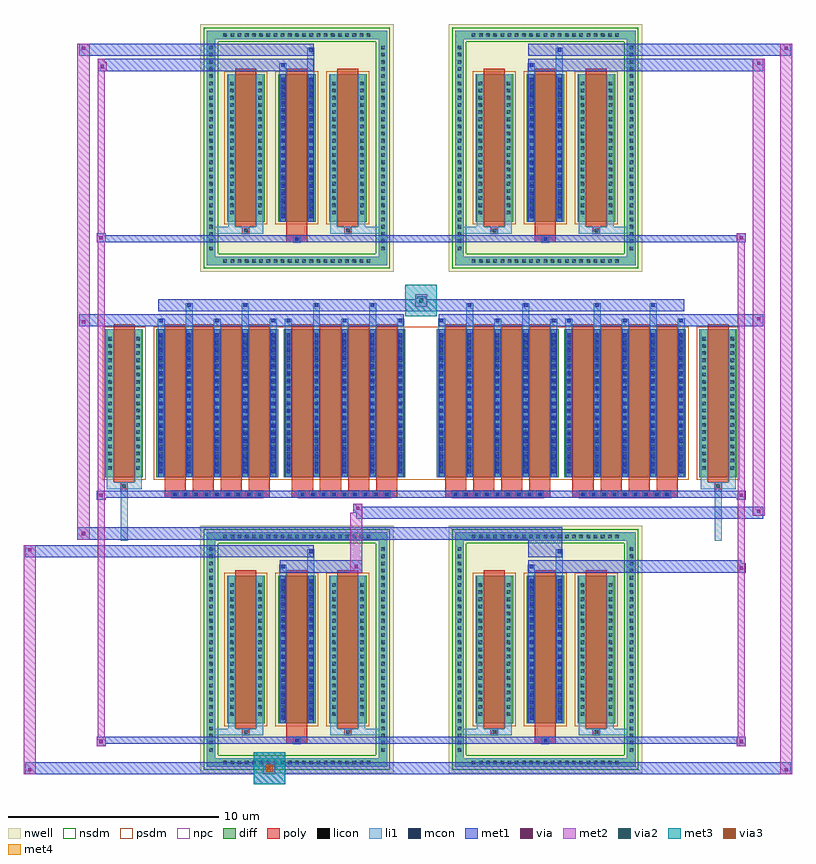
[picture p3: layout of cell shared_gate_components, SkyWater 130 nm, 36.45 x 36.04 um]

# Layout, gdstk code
import gdstk
lib = gdstk.Library(unit=1e-6, precision=5e-09)
def R(c, l, rs):  # rectangles x0, y0, x1, y1
    for r in rs: c.add(gdstk.rectangle(r[:2], r[2:], *l))
def A(c, l, x, y, w, h, nx, ny, dx, dy):  # array of equal rectangles
    R(c, l, [(x+i*dx, y+j*dy, x+i*dx+w, y+j*dy+h) for i in range(nx) for j in range(ny)])
def P(c, l, *ps):  # polygons
    for p in ps: c.add(gdstk.Polygon(p, *l))
nwell = (64, 20)
diff = (65, 20)
poly = (66, 20)
licon = (66, 44)
li1 = (67, 20)
mcon = (67, 44)
met1 = (68, 20)
via = (68, 44)
met2 = (69, 20)
via2 = (69, 44)
met3 = (70, 20)
via3 = (70, 44)
met4 = (71, 20)
nsdm = (93, 44)
psdm = (94, 20)
npc = (95, 20)

multiplier_8b764ce7 = lib.new_cell('multiplier_8b764ce7')
R(multiplier_8b764ce7, diff, [(-5.305,-3.5,-3.525,3.5), (-2.885,-3.5,2.885,3.5)])
A(multiplier_8b764ce7, poly, -2.165, -4.48, 0.33, 0.33, 9, 1, 0.5, 0)
A(multiplier_8b764ce7, poly, -2.495, -4.15, 1, 0.4, 4, 1, 1.33, 0)
A(multiplier_8b764ce7, poly, -2.495, -3.75, 1, 7.5, 4, 1, 1.33, 0)
R(multiplier_8b764ce7, poly, [(-2.495,-4.48,2.495,-4.15), (-4.58,-4.08,-4.25,-3.75), (-4.58,-4.08,-4.25,-3.75), (-4.915,-3.75,-3.915,3.75)])
A(multiplier_8b764ce7, licon, -2.085, -4.4, 0.17, 0.17, 9, 1, 0.5, 0)
A(multiplier_8b764ce7, licon, -5.165, -3.145, 0.17, 0.17, 1, 19, 0, 0.34)
A(multiplier_8b764ce7, licon, -3.835, -3.145, 0.17, 0.17, 1, 19, 0, 0.34)
A(multiplier_8b764ce7, licon, -2.745, -3.145, 0.17, 0.17, 5, 19, 1.33, 0.34)
R(multiplier_8b764ce7, licon, [(-4.5,-4,-4.33,-3.83)])
A(multiplier_8b764ce7, li1, -2.165, -4.48, 0.33, 0.33, 9, 1, 0.5, 0)
A(multiplier_8b764ce7, li1, -2.825, -3.5, 0.33, 7, 5, 1, 1.33, 0)
A(multiplier_8b764ce7, li1, -2.745, -3.325, 0.17, 0.17, 5, 19, 1.33, 0.36)
A(multiplier_8b764ce7, li1, -2.745, -3.325, 0.17, 6.65, 5, 1, 1.33, 0)
A(multiplier_8b764ce7, li1, -5.245, -3.225, 0.33, 0.33, 1, 19, 0, 0.34)
A(multiplier_8b764ce7, li1, -3.915, -3.225, 0.33, 0.33, 1, 19, 0, 0.34)
A(multiplier_8b764ce7, li1, -2.825, -3.225, 0.33, 0.33, 5, 19, 1.33, 0.34)
A(multiplier_8b764ce7, li1, -2.825, 3.5, 0.33, 0.52, 3, 1, 2.66, 0)
A(multiplier_8b764ce7, li1, -2.745, 3.85, 0.17, 0.17, 3, 1, 2.66, 0)
R(multiplier_8b764ce7, li1, [(-5.245,-4.08,-4.58,-3.75), (-5.245,-4.08,-4.915,-3.5), (-4.58,-4.08,-4.25,-3.75), (-4.25,-4.08,-3.585,-3.75), (-3.915,-4.08,-3.585,-3.5), (-5.245,-3.5,-4.915,3.5), (-3.915,-3.5,-3.585,3.5), (-1.495,3.5,-1.165,4.74), (1.165,3.5,1.495,4.74), (-1.415,4.57,-1.245,4.74), (1.245,4.57,1.415,4.74)])
A(multiplier_8b764ce7, mcon, -2.085, -4.4, 0.17, 0.17, 9, 1, 0.5, 0)
A(multiplier_8b764ce7, mcon, -2.745, -3.325, 0.17, 0.17, 5, 19, 1.33, 0.36)
A(multiplier_8b764ce7, mcon, -2.745, 3.85, 0.17, 0.17, 3, 1, 2.66, 0)
R(multiplier_8b764ce7, mcon, [(-1.415,4.57,-1.245,4.74), (1.245,4.57,1.415,4.74)])
A(multiplier_8b764ce7, met1, -2.145, -4.46, 0.29, 0.29, 9, 1, 0.5, 0)
A(multiplier_8b764ce7, met1, -2.805, -3.5, 0.29, 7, 5, 1, 1.33, 0)
A(multiplier_8b764ce7, met1, -2.805, -3.385, 0.29, 0.29, 5, 19, 1.33, 0.36)
A(multiplier_8b764ce7, met1, -2.805, 3.79, 0.29, 0.29, 3, 1, 2.66, 0)
R(multiplier_8b764ce7, met1, [(-2.495,-4.48,2.495,-4.15), (-2.805,3.645,2.805,4.225), (-2.805,4.365,2.805,4.945), (-1.475,4.51,-1.185,4.8), (1.185,4.51,1.475,4.8)])
R(multiplier_8b764ce7, psdm, [(-5.435,-3.63,-3.395,3.63), (-3.015,-3.63,3.015,3.63)])
A(multiplier_8b764ce7, npc, -2.185, -4.5, 0.37, 0.37, 9, 1, 0.5, 0)
R(multiplier_8b764ce7, npc, [(-2.185,-4.5,-1.315,-4.13), (-2.185,-4.5,-1.315,-4.13), (-1.685,-4.5,-0.815,-4.13), (-1.685,-4.5,-0.815,-4.13), (-1.185,-4.5,-0.315,-4.13), (-1.185,-4.5,-0.315,-4.13), (-0.685,-4.5,0.185,-4.13), (-0.685,-4.5,0.185,-4.13), (-0.185,-4.5,0.685,-4.13), (-0.185,-4.5,0.685,-4.13), (0.315,-4.5,1.185,-4.13), (0.315,-4.5,1.185,-4.13), (0.815,-4.5,1.685,-4.13), (0.815,-4.5,1.685,-4.13), (1.315,-4.5,2.185,-4.13), (1.315,-4.5,2.185,-4.13), (-4.6,-4.1,-4.23,-3.73)])

multiplier_1a55a8d5 = lib.new_cell('multiplier_1a55a8d5')
R(multiplier_1a55a8d5, diff, [(-2.885,-3.5,2.885,3.5)])
A(multiplier_1a55a8d5, poly, -2.165, -4.48, 0.33, 0.33, 9, 1, 0.5, 0)
A(multiplier_1a55a8d5, poly, -2.495, -4.15, 1, 0.4, 4, 1, 1.33, 0)
A(multiplier_1a55a8d5, poly, -2.495, -3.75, 1, 7.5, 4, 1, 1.33, 0)
R(multiplier_1a55a8d5, poly, [(-2.495,-4.48,2.495,-4.15)])
A(multiplier_1a55a8d5, licon, -2.085, -4.4, 0.17, 0.17, 9, 1, 0.5, 0)
A(multiplier_1a55a8d5, licon, -2.745, -3.145, 0.17, 0.17, 5, 19, 1.33, 0.34)
A(multiplier_1a55a8d5, li1, -2.165, -4.48, 0.33, 0.33, 9, 1, 0.5, 0)
A(multiplier_1a55a8d5, li1, -2.825, -3.5, 0.33, 7, 5, 1, 1.33, 0)
A(multiplier_1a55a8d5, li1, -2.745, -3.325, 0.17, 0.17, 5, 19, 1.33, 0.36)
A(multiplier_1a55a8d5, li1, -2.745, -3.325, 0.17, 6.65, 5, 1, 1.33, 0)
A(multiplier_1a55a8d5, li1, -2.825, -3.225, 0.33, 0.33, 5, 19, 1.33, 0.34)
A(multiplier_1a55a8d5, li1, -2.825, 3.5, 0.33, 0.52, 3, 1, 2.66, 0)
A(multiplier_1a55a8d5, li1, -2.745, 3.85, 0.17, 0.17, 3, 1, 2.66, 0)
R(multiplier_1a55a8d5, li1, [(-1.495,3.5,-1.165,4.74), (1.165,3.5,1.495,4.74), (-1.415,4.57,-1.245,4.74), (1.245,4.57,1.415,4.74)])
A(multiplier_1a55a8d5, mcon, -2.085, -4.4, 0.17, 0.17, 9, 1, 0.5, 0)
A(multiplier_1a55a8d5, mcon, -2.745, -3.325, 0.17, 0.17, 5, 19, 1.33, 0.36)
A(multiplier_1a55a8d5, mcon, -2.745, 3.85, 0.17, 0.17, 3, 1, 2.66, 0)
R(multiplier_1a55a8d5, mcon, [(-1.415,4.57,-1.245,4.74), (1.245,4.57,1.415,4.74)])
A(multiplier_1a55a8d5, met1, -2.145, -4.46, 0.29, 0.29, 9, 1, 0.5, 0)
A(multiplier_1a55a8d5, met1, -2.805, -3.5, 0.29, 7, 5, 1, 1.33, 0)
A(multiplier_1a55a8d5, met1, -2.805, -3.385, 0.29, 0.29, 5, 19, 1.33, 0.36)
A(multiplier_1a55a8d5, met1, -2.805, 3.79, 0.29, 0.29, 3, 1, 2.66, 0)
R(multiplier_1a55a8d5, met1, [(-2.495,-4.48,2.495,-4.15), (-2.805,3.645,2.805,4.225), (-2.805,4.365,2.805,4.945), (-1.475,4.51,-1.185,4.8), (1.185,4.51,1.475,4.8)])
R(multiplier_1a55a8d5, psdm, [(-3.015,-3.63,3.015,3.63)])
A(multiplier_1a55a8d5, npc, -2.185, -4.5, 0.37, 0.37, 9, 1, 0.5, 0)
R(multiplier_1a55a8d5, npc, [(-2.185,-4.5,-1.315,-4.13), (-2.185,-4.5,-1.315,-4.13), (-1.685,-4.5,-0.815,-4.13), (-1.685,-4.5,-0.815,-4.13), (-1.185,-4.5,-0.315,-4.13), (-1.185,-4.5,-0.315,-4.13), (-0.685,-4.5,0.185,-4.13), (-0.685,-4.5,0.185,-4.13), (-0.185,-4.5,0.685,-4.13), (-0.185,-4.5,0.685,-4.13), (0.315,-4.5,1.185,-4.13), (0.315,-4.5,1.185,-4.13), (0.815,-4.5,1.685,-4.13), (0.815,-4.5,1.685,-4.13), (1.315,-4.5,2.185,-4.13), (1.315,-4.5,2.185,-4.13)])

multiplier_55c53ef0 = lib.new_cell('multiplier_55c53ef0')
R(multiplier_55c53ef0, diff, [(-2.885,-3.5,2.885,3.5), (3.525,-3.5,5.305,3.5)])
A(multiplier_55c53ef0, poly, -2.165, -4.48, 0.33, 0.33, 9, 1, 0.5, 0)
A(multiplier_55c53ef0, poly, -2.495, -4.15, 1, 0.4, 4, 1, 1.33, 0)
A(multiplier_55c53ef0, poly, -2.495, -3.75, 1, 7.5, 4, 1, 1.33, 0)
R(multiplier_55c53ef0, poly, [(-2.495,-4.48,2.495,-4.15), (4.25,-4.08,4.58,-3.75), (4.25,-4.08,4.58,-3.75), (3.915,-3.75,4.915,3.75)])
A(multiplier_55c53ef0, licon, -2.085, -4.4, 0.17, 0.17, 9, 1, 0.5, 0)
A(multiplier_55c53ef0, licon, -2.745, -3.145, 0.17, 0.17, 5, 19, 1.33, 0.34)
A(multiplier_55c53ef0, licon, 3.665, -3.145, 0.17, 0.17, 1, 19, 0, 0.34)
A(multiplier_55c53ef0, licon, 4.995, -3.145, 0.17, 0.17, 1, 19, 0, 0.34)
R(multiplier_55c53ef0, licon, [(4.33,-4,4.5,-3.83)])
A(multiplier_55c53ef0, li1, -2.165, -4.48, 0.33, 0.33, 9, 1, 0.5, 0)
A(multiplier_55c53ef0, li1, -2.825, -3.5, 0.33, 7, 5, 1, 1.33, 0)
A(multiplier_55c53ef0, li1, -2.745, -3.325, 0.17, 0.17, 5, 19, 1.33, 0.36)
A(multiplier_55c53ef0, li1, -2.745, -3.325, 0.17, 6.65, 5, 1, 1.33, 0)
A(multiplier_55c53ef0, li1, -2.825, -3.225, 0.33, 0.33, 5, 19, 1.33, 0.34)
A(multiplier_55c53ef0, li1, 3.585, -3.225, 0.33, 0.33, 1, 19, 0, 0.34)
A(multiplier_55c53ef0, li1, 4.915, -3.225, 0.33, 0.33, 1, 19, 0, 0.34)
A(multiplier_55c53ef0, li1, -2.825, 3.5, 0.33, 0.52, 3, 1, 2.66, 0)
A(multiplier_55c53ef0, li1, -2.745, 3.85, 0.17, 0.17, 3, 1, 2.66, 0)
R(multiplier_55c53ef0, li1, [(3.585,-4.08,4.25,-3.75), (3.585,-4.08,3.915,-3.5), (4.25,-4.08,4.58,-3.75), (4.58,-4.08,5.245,-3.75), (4.915,-4.08,5.245,-3.5), (3.585,-3.5,3.915,3.5), (4.915,-3.5,5.245,3.5), (-1.495,3.5,-1.165,4.74), (1.165,3.5,1.495,4.74), (-1.415,4.57,-1.245,4.74), (1.245,4.57,1.415,4.74)])
A(multiplier_55c53ef0, mcon, -2.085, -4.4, 0.17, 0.17, 9, 1, 0.5, 0)
A(multiplier_55c53ef0, mcon, -2.745, -3.325, 0.17, 0.17, 5, 19, 1.33, 0.36)
A(multiplier_55c53ef0, mcon, -2.745, 3.85, 0.17, 0.17, 3, 1, 2.66, 0)
R(multiplier_55c53ef0, mcon, [(-1.415,4.57,-1.245,4.74), (1.245,4.57,1.415,4.74)])
A(multiplier_55c53ef0, met1, -2.145, -4.46, 0.29, 0.29, 9, 1, 0.5, 0)
A(multiplier_55c53ef0, met1, -2.805, -3.5, 0.29, 7, 5, 1, 1.33, 0)
A(multiplier_55c53ef0, met1, -2.805, -3.385, 0.29, 0.29, 5, 19, 1.33, 0.36)
A(multiplier_55c53ef0, met1, -2.805, 3.79, 0.29, 0.29, 3, 1, 2.66, 0)
R(multiplier_55c53ef0, met1, [(-2.495,-4.48,2.495,-4.15), (-2.805,3.645,2.805,4.225), (-2.805,4.365,2.805,4.945), (-1.475,4.51,-1.185,4.8), (1.185,4.51,1.475,4.8)])
R(multiplier_55c53ef0, psdm, [(-3.015,-3.63,3.015,3.63), (3.395,-3.63,5.435,3.63)])
A(multiplier_55c53ef0, npc, -2.185, -4.5, 0.37, 0.37, 9, 1, 0.5, 0)
R(multiplier_55c53ef0, npc, [(-2.185,-4.5,-1.315,-4.13), (-2.185,-4.5,-1.315,-4.13), (-1.685,-4.5,-0.815,-4.13), (-1.685,-4.5,-0.815,-4.13), (-1.185,-4.5,-0.315,-4.13), (-1.185,-4.5,-0.315,-4.13), (-0.685,-4.5,0.185,-4.13), (-0.685,-4.5,0.185,-4.13), (-0.185,-4.5,0.685,-4.13), (-0.185,-4.5,0.685,-4.13), (0.315,-4.5,1.185,-4.13), (0.315,-4.5,1.185,-4.13), (0.815,-4.5,1.685,-4.13), (0.815,-4.5,1.685,-4.13), (1.315,-4.5,2.185,-4.13), (1.315,-4.5,2.185,-4.13), (4.23,-4.1,4.6,-3.73)])

unnamed_249a0613_1 = lib.new_cell('Unnamed_249a0613$1')
A(unnamed_249a0613_1, diff, -3.605, -5.565, 0.41, 0.41, 21, 2, 0.34, 10.72)
A(unnamed_249a0613_1, diff, -4.28, -4.965, 0.41, 0.41, 1, 29, 0, 0.34)
A(unnamed_249a0613_1, diff, 3.87, -4.965, 0.41, 0.41, 1, 29, 0, 0.34)
R(unnamed_249a0613_1, diff, [(-3.605,-5.565,3.605,-5.155), (-4.28,-4.965,-3.87,4.965), (3.87,-4.965,4.28,4.965), (-3.605,5.155,3.605,5.565)])
P(unnamed_249a0613_1, diff, [(4.28,5.565),(-4.28,5.565),(-4.28,-5.155),(-3.87,-5.155),(-3.87,5.155),(3.87,5.155),(3.87,-5.155),(-3.87,-5.155),(-4.28,-5.155),(-4.28,-5.565),(4.28,-5.565)])
A(unnamed_249a0613_1, licon, -3.485, -5.445, 0.17, 0.17, 21, 2, 0.34, 10.72)
A(unnamed_249a0613_1, licon, -4.16, -4.845, 0.17, 0.17, 1, 29, 0, 0.34)
A(unnamed_249a0613_1, licon, 3.99, -4.845, 0.17, 0.17, 1, 29, 0, 0.34)
A(unnamed_249a0613_1, li1, -3.565, -5.525, 0.33, 0.33, 21, 2, 0.34, 10.72)
A(unnamed_249a0613_1, li1, -4.24, -4.925, 0.33, 0.33, 1, 29, 0, 0.34)
A(unnamed_249a0613_1, li1, 3.91, -4.925, 0.33, 0.33, 1, 29, 0, 0.34)
R(unnamed_249a0613_1, li1, [(-4.28,-5.565,-3.87,-5.155), (-4.28,-5.565,-3.87,-5.155), (-3.87,-5.565,3.87,-5.155), (3.87,-5.565,4.28,-5.155), (3.87,-5.565,4.28,-5.155), (-4.28,-5.155,-3.87,5.155), (3.87,-5.155,4.28,5.155), (-4.28,5.155,-3.87,5.565), (-4.28,5.155,-3.87,5.565), (-3.87,5.155,3.87,5.565), (3.87,5.155,4.28,5.565), (3.87,5.155,4.28,5.565)])
P(unnamed_249a0613_1, nsdm, [(4.41,5.695),(-4.41,5.695),(-4.41,-5.025),(-3.74,-5.025),(-3.74,5.025),(3.74,5.025),(3.74,-5.025),(-3.74,-5.025),(-4.41,-5.025),(-4.41,-5.695),(4.41,-5.695)])

straight_route_8cb96574 = lib.new_cell('straight_route_8cb96574')
R(straight_route_8cb96574, li1, [(-4.28,-4.08,-2.585,-3.75)])

straight_route_b43b3eeb = lib.new_cell('straight_route_b43b3eeb')
R(straight_route_b43b3eeb, li1, [(2.255,-4.08,4.28,-3.75)])

unnamed_a166a979 = lib.new_cell('Unnamed_a166a979')
R(unnamed_a166a979, nwell, [(-4.59,-5.875,4.59,5.875)])
A(unnamed_a166a979, diff, -3.31, -3.5, 1.78, 7, 3, 1, 2.42, 0)
A(unnamed_a166a979, poly, -2.92, -3.75, 1, 7.5, 3, 1, 2.42, 0)
R(unnamed_a166a979, poly, [(-0.5,-4.48,0.5,-4.15), (-0.165,-4.48,0.165,-4.15), (-0.5,-4.15,0.5,-3.75), (-2.585,-4.08,-2.255,-3.75), (-2.585,-4.08,-2.255,-3.75), (2.255,-4.08,2.585,-3.75), (2.255,-4.08,2.585,-3.75)])
A(unnamed_a166a979, licon, -3.17, -3.145, 0.17, 0.17, 1, 19, 0, 0.34)
A(unnamed_a166a979, licon, -1.84, -3.145, 0.17, 0.17, 1, 19, 0, 0.34)
A(unnamed_a166a979, licon, -0.75, -3.145, 0.17, 0.17, 1, 19, 0, 0.34)
A(unnamed_a166a979, licon, 0.58, -3.145, 0.17, 0.17, 1, 19, 0, 0.34)
A(unnamed_a166a979, licon, 1.67, -3.145, 0.17, 0.17, 1, 19, 0, 0.34)
A(unnamed_a166a979, licon, 3, -3.145, 0.17, 0.17, 1, 19, 0, 0.34)
R(unnamed_a166a979, licon, [(-0.085,-4.4,0.085,-4.23), (-2.505,-4,-2.335,-3.83), (2.335,-4,2.505,-3.83)])
A(unnamed_a166a979, li1, -0.75, -3.325, 0.17, 0.17, 1, 19, 0, 0.36)
A(unnamed_a166a979, li1, 0.58, -3.325, 0.17, 0.17, 1, 19, 0, 0.36)
A(unnamed_a166a979, li1, -3.25, -3.225, 0.33, 0.33, 1, 19, 0, 0.34)
A(unnamed_a166a979, li1, -1.92, -3.225, 0.33, 0.33, 1, 19, 0, 0.34)
A(unnamed_a166a979, li1, -0.83, -3.225, 0.33, 0.33, 1, 19, 0, 0.34)
A(unnamed_a166a979, li1, 0.5, -3.225, 0.33, 0.33, 1, 19, 0, 0.34)
A(unnamed_a166a979, li1, 1.59, -3.225, 0.33, 0.33, 1, 19, 0, 0.34)
A(unnamed_a166a979, li1, 2.92, -3.225, 0.33, 0.33, 1, 19, 0, 0.34)
R(unnamed_a166a979, li1, [(-0.165,-4.48,0.165,-4.15), (-3.25,-4.08,-2.585,-3.75), (-3.25,-4.08,-2.92,-3.5), (-2.585,-4.08,-2.255,-3.75), (-2.255,-4.08,-1.59,-3.75), (-1.92,-4.08,-1.59,-3.5), (1.59,-4.08,2.255,-3.75), (1.59,-4.08,1.92,-3.5), (2.255,-4.08,2.585,-3.75), (2.585,-4.08,3.25,-3.75), (2.92,-4.08,3.25,-3.5), (-3.25,-3.5,-2.92,3.5), (-1.92,-3.5,-1.59,3.5), (-0.83,-3.5,-0.5,3.5), (0.5,-3.5,0.83,3.5), (1.59,-3.5,1.92,3.5), (2.92,-3.5,3.25,3.5), (-0.75,-3.325,-0.58,3.325), (0.58,-3.325,0.75,3.325), (-0.83,3.5,-0.5,4.02), (0.5,3.5,0.83,4.74), (-0.75,3.85,-0.58,4.02), (0.58,4.57,0.75,4.74)])
A(unnamed_a166a979, mcon, -0.75, -3.325, 0.17, 0.17, 1, 19, 0, 0.36)
A(unnamed_a166a979, mcon, 0.58, -3.325, 0.17, 0.17, 1, 19, 0, 0.36)
R(unnamed_a166a979, mcon, [(-0.085,-4.4,0.085,-4.23), (-0.75,3.85,-0.58,4.02), (0.58,4.57,0.75,4.74)])
A(unnamed_a166a979, met1, -0.81, -3.385, 0.29, 0.29, 1, 19, 0, 0.36)
A(unnamed_a166a979, met1, 0.52, -3.385, 0.29, 0.29, 1, 19, 0, 0.36)
R(unnamed_a166a979, met1, [(-0.5,-4.48,0.5,-4.15), (-0.145,-4.46,0.145,-4.17), (-0.81,-3.5,-0.52,3.5), (0.52,-3.5,0.81,3.5), (-0.81,3.645,0.81,4.225), (-0.81,3.79,-0.52,4.08), (-0.81,4.365,0.81,4.945), (0.52,4.51,0.81,4.8)])
A(unnamed_a166a979, psdm, -3.44, -3.63, 2.04, 7.26, 3, 1, 2.42, 0)
R(unnamed_a166a979, npc, [(-0.185,-4.5,0.185,-4.13), (-2.605,-4.1,-2.235,-3.73), (2.235,-4.1,2.605,-3.73)])
unnamed_a166a979.add(gdstk.Reference(unnamed_249a0613_1, (0,0)))
unnamed_a166a979.add(gdstk.Reference(straight_route_8cb96574, (0,0)))
unnamed_a166a979.add(gdstk.Reference(straight_route_b43b3eeb, (0,0)))

unnamed_dd3b358c = lib.new_cell('Unnamed_dd3b358c')
R(unnamed_dd3b358c, nwell, [(-4.59,-5.875,4.59,5.875)])
A(unnamed_dd3b358c, diff, -3.31, -3.5, 1.78, 7, 3, 1, 2.42, 0)
A(unnamed_dd3b358c, poly, -2.92, -3.75, 1, 7.5, 3, 1, 2.42, 0)
R(unnamed_dd3b358c, poly, [(-0.5,-4.48,0.5,-4.15), (-0.165,-4.48,0.165,-4.15), (-0.5,-4.15,0.5,-3.75), (-2.585,-4.08,-2.255,-3.75), (-2.585,-4.08,-2.255,-3.75), (2.255,-4.08,2.585,-3.75), (2.255,-4.08,2.585,-3.75)])
A(unnamed_dd3b358c, licon, -3.17, -3.145, 0.17, 0.17, 1, 19, 0, 0.34)
A(unnamed_dd3b358c, licon, -1.84, -3.145, 0.17, 0.17, 1, 19, 0, 0.34)
A(unnamed_dd3b358c, licon, -0.75, -3.145, 0.17, 0.17, 1, 19, 0, 0.34)
A(unnamed_dd3b358c, licon, 0.58, -3.145, 0.17, 0.17, 1, 19, 0, 0.34)
A(unnamed_dd3b358c, licon, 1.67, -3.145, 0.17, 0.17, 1, 19, 0, 0.34)
A(unnamed_dd3b358c, licon, 3, -3.145, 0.17, 0.17, 1, 19, 0, 0.34)
R(unnamed_dd3b358c, licon, [(-0.085,-4.4,0.085,-4.23), (-2.505,-4,-2.335,-3.83), (2.335,-4,2.505,-3.83)])
A(unnamed_dd3b358c, li1, -0.75, -3.325, 0.17, 0.17, 1, 19, 0, 0.36)
A(unnamed_dd3b358c, li1, 0.58, -3.325, 0.17, 0.17, 1, 19, 0, 0.36)
A(unnamed_dd3b358c, li1, -3.25, -3.225, 0.33, 0.33, 1, 19, 0, 0.34)
A(unnamed_dd3b358c, li1, -1.92, -3.225, 0.33, 0.33, 1, 19, 0, 0.34)
A(unnamed_dd3b358c, li1, -0.83, -3.225, 0.33, 0.33, 1, 19, 0, 0.34)
A(unnamed_dd3b358c, li1, 0.5, -3.225, 0.33, 0.33, 1, 19, 0, 0.34)
A(unnamed_dd3b358c, li1, 1.59, -3.225, 0.33, 0.33, 1, 19, 0, 0.34)
A(unnamed_dd3b358c, li1, 2.92, -3.225, 0.33, 0.33, 1, 19, 0, 0.34)
R(unnamed_dd3b358c, li1, [(-0.165,-4.48,0.165,-4.15), (-3.25,-4.08,-2.585,-3.75), (-3.25,-4.08,-2.92,-3.5), (-2.585,-4.08,-2.255,-3.75), (-2.255,-4.08,-1.59,-3.75), (-1.92,-4.08,-1.59,-3.5), (1.59,-4.08,2.255,-3.75), (1.59,-4.08,1.92,-3.5), (2.255,-4.08,2.585,-3.75), (2.585,-4.08,3.25,-3.75), (2.92,-4.08,3.25,-3.5), (-3.25,-3.5,-2.92,3.5), (-1.92,-3.5,-1.59,3.5), (-0.83,-3.5,-0.5,3.5), (0.5,-3.5,0.83,3.5), (1.59,-3.5,1.92,3.5), (2.92,-3.5,3.25,3.5), (-0.75,-3.325,-0.58,3.325), (0.58,-3.325,0.75,3.325), (-0.83,3.5,-0.5,4.02), (0.5,3.5,0.83,4.74), (-0.75,3.85,-0.58,4.02), (0.58,4.57,0.75,4.74)])
A(unnamed_dd3b358c, mcon, -0.75, -3.325, 0.17, 0.17, 1, 19, 0, 0.36)
A(unnamed_dd3b358c, mcon, 0.58, -3.325, 0.17, 0.17, 1, 19, 0, 0.36)
R(unnamed_dd3b358c, mcon, [(-0.085,-4.4,0.085,-4.23), (-0.75,3.85,-0.58,4.02), (0.58,4.57,0.75,4.74)])
A(unnamed_dd3b358c, met1, -0.81, -3.385, 0.29, 0.29, 1, 19, 0, 0.36)
A(unnamed_dd3b358c, met1, 0.52, -3.385, 0.29, 0.29, 1, 19, 0, 0.36)
R(unnamed_dd3b358c, met1, [(-0.5,-4.48,0.5,-4.15), (-0.145,-4.46,0.145,-4.17), (-0.81,-3.5,-0.52,3.5), (0.52,-3.5,0.81,3.5), (-0.81,3.645,0.81,4.225), (-0.81,3.79,-0.52,4.08), (-0.81,4.365,0.81,4.945), (0.52,4.51,0.81,4.8)])
A(unnamed_dd3b358c, psdm, -3.44, -3.63, 2.04, 7.26, 3, 1, 2.42, 0)
R(unnamed_dd3b358c, npc, [(-0.185,-4.5,0.185,-4.13), (-2.605,-4.1,-2.235,-3.73), (2.235,-4.1,2.605,-3.73)])
unnamed_dd3b358c.add(gdstk.Reference(unnamed_249a0613_1, (0,0)))
unnamed_dd3b358c.add(gdstk.Reference(straight_route_8cb96574, (0,0)))
unnamed_dd3b358c.add(gdstk.Reference(straight_route_b43b3eeb, (0,0)))

route_quad_9a9c024c = lib.new_cell('route_quad_9a9c024c')
R(route_quad_9a9c024c, met1, [(-6.39,-4.48,6.39,-4.15)])

c_2_multiplier_shared_gate = lib.new_cell('2_multiplier_shared_gate_comps')
c_2_multiplier_shared_gate.add(gdstk.Reference(unnamed_a166a979, (-5.89,0)))
c_2_multiplier_shared_gate.add(gdstk.Reference(unnamed_dd3b358c, (5.89,0)))
c_2_multiplier_shared_gate.add(gdstk.Reference(route_quad_9a9c024c, (0,0)))

straight_route_ddc55553 = lib.new_cell('straight_route_ddc55553')
R(straight_route_ddc55553, li1, [(-14.25,-6.735,-13.92,-3.97)])

straight_route_048df228 = lib.new_cell('straight_route_048df228')
R(straight_route_048df228, li1, [(13.92,-6.735,14.25,-3.97)])

route_quad_a14854c7 = lib.new_cell('route_quad_a14854c7')
R(route_quad_a14854c7, psdm, [(-12.685,-3.85,12.685,3.41)])

route_quad_dc2cdee2 = lib.new_cell('route_quad_dc2cdee2')
R(route_quad_dc2cdee2, met1, [(-12.475,3.425,-0.825,4.005)])

route_quad_61afab6d = lib.new_cell('route_quad_61afab6d')
R(route_quad_61afab6d, met1, [(0.825,3.425,12.475,4.005)])

route_quad_b314cd15 = lib.new_cell('route_quad_b314cd15')
R(route_quad_b314cd15, met1, [(-12.475,4.145,12.475,4.725)])

via_stack_daa6e7a5 = lib.new_cell('via_stack_daa6e7a5')
R(via_stack_daa6e7a5, met1, [(-0.215,-0.215,0.215,0.215)])
R(via_stack_daa6e7a5, via, [(-0.075,-0.075,0.075,0.075)])
R(via_stack_daa6e7a5, met2, [(-0.29,-0.29,0.29,0.29)])
R(via_stack_daa6e7a5, via2, [(-0.1,-0.1,0.1,0.1)])
R(via_stack_daa6e7a5, met3, [(-0.75,-0.75,0.75,0.75)])

route_quad_7d1a26c3 = lib.new_cell('route_quad_7d1a26c3')
R(route_quad_7d1a26c3, met1, [(-12.165,-4.7,12.165,-4.37)])

c_route_bcaef4f7 = lib.new_cell('c_route_bcaef4f7')
R(c_route_bcaef4f7, met1, [(-15.39,-16.47,-14.96,-16.04), (-15.39,-16.37,-6.39,-16.04), (-15.39,7.41,-6.39,7.74), (-15.39,7.41,-14.96,7.84)])
R(c_route_bcaef4f7, via, [(-15.25,-16.33,-15.1,-16.18), (-15.25,7.55,-15.1,7.7)])
R(c_route_bcaef4f7, met2, [(-15.39,-16.47,-14.96,-16.04), (-15.34,-16.47,-15.01,7.84), (-15.01,-16.47,-14.96,-16.04), (-15.34,-16.42,-15.01,-16.09), (-15.39,7.41,-14.96,7.84), (-15.01,7.41,-14.96,7.84), (-15.34,7.46,-15.01,7.79)])

c_route_6727e1a7 = lib.new_cell('c_route_6727e1a7')
R(c_route_6727e1a7, met1, [(14.96,-16.47,15.39,-16.04), (6.39,-16.37,15.39,-16.04), (6.39,7.41,15.39,7.74), (14.96,7.41,15.39,7.84)])
R(c_route_6727e1a7, via, [(15.1,-16.33,15.25,-16.18), (15.1,7.55,15.25,7.7)])
R(c_route_6727e1a7, met2, [(14.96,-16.47,15.39,-16.04), (15.01,-16.47,15.34,7.84), (15.34,-16.47,15.39,-16.04), (15.01,-16.42,15.34,-16.09), (14.96,7.41,15.39,7.84), (15.34,7.41,15.39,7.84), (15.01,7.46,15.34,7.79)])

straight_route_9a33160e = lib.new_cell('straight_route_9a33160e')
R(straight_route_9a33160e, met1, [(-15.39,-4.8,-14.96,-4.37), (-15.175,-4.7,-12.165,-4.37)])
R(straight_route_9a33160e, via, [(-15.25,-4.66,-15.1,-4.51)])
R(straight_route_9a33160e, met2, [(-15.34,-4.75,-15.01,-4.42)])

straight_route_0b25ad67 = lib.new_cell('straight_route_0b25ad67')
R(straight_route_0b25ad67, met1, [(14.96,-4.8,15.39,-4.37), (12.165,-4.7,15.175,-4.37)])
R(straight_route_0b25ad67, via, [(15.1,-4.66,15.25,-4.51)])
R(straight_route_0b25ad67, met2, [(15.01,-4.75,15.34,-4.42)])

l_route_be2a4516 = lib.new_cell('L_route_be2a4516')
R(l_route_be2a4516, met1, [(-15.34,15.535,-6.7,16.115), (-15.34,15.535,-14.91,15.965), (-15.34,15.535,-14.91,15.965)])
R(l_route_be2a4516, via, [(-15.2,15.675,-15.05,15.825)])
R(l_route_be2a4516, met2, [(-15.34,7.84,-15.01,16.115), (-15.34,15.535,-14.91,15.965), (-15.29,15.585,-14.96,15.915)])

straight_route_a93f1154 = lib.new_cell('straight_route_a93f1154')
R(straight_route_a93f1154, met1, [(6.7,-8.245,15.175,-7.665), (14.96,-8.245,15.39,-7.815)])
R(straight_route_a93f1154, via, [(15.1,-8.105,15.25,-7.955)])
R(straight_route_a93f1154, met2, [(15.01,-8.195,15.34,-7.865)])

c_route_32da0d46 = lib.new_cell('c_route_32da0d46')
R(c_route_32da0d46, met1, [(-16.22,3.425,-15.79,3.855), (-16.22,3.425,-12.475,4.005), (-16.22,16.255,-6.7,16.835), (-16.22,16.405,-15.79,16.835)])
R(c_route_32da0d46, via, [(-16.08,3.565,-15.93,3.715), (-16.08,16.545,-15.93,16.695)])
R(c_route_32da0d46, met2, [(-16.295,3.425,-15.715,16.835), (-16.22,3.425,-15.79,3.855), (-15.79,3.425,-15.715,3.855), (-16.17,3.475,-15.84,3.805), (-16.22,16.405,-15.79,16.835), (-15.79,16.405,-15.715,16.835), (-16.17,16.455,-15.84,16.785)])

compass_6da2b9b7_1 = lib.new_cell('compass_6da2b9b7$1')
R(compass_6da2b9b7_1, met1, [(-0.81,-0.29,0.81,0.29)])

unnamed_21e66a7a = lib.new_cell('Unnamed_21e66a7a')
unnamed_21e66a7a.add(gdstk.Reference(compass_6da2b9b7_1, (0.81,0.29)))

straight_route_65b26ea7 = lib.new_cell('straight_route_65b26ea7')
R(straight_route_65b26ea7, met1, [(5.08,-6.945,6.7,-6.685)])

l_route_bfd8f1db = lib.new_cell('L_route_bfd8f1db')
R(l_route_bfd8f1db, met1, [(-16.295,-6.685,5.08,-6.105), (-16.22,-6.61,-15.79,-6.18), (-16.22,-6.61,-15.79,-6.18)])
R(l_route_bfd8f1db, via, [(-16.08,-6.47,-15.93,-6.32)])
R(l_route_bfd8f1db, met2, [(-16.295,-6.685,-15.715,-6.105), (-16.295,-6.685,-15.715,3.425), (-16.17,-6.56,-15.84,-6.23)])

c_route_cde67343 = lib.new_cell('c_route_cde67343')
R(c_route_cde67343, met1, [(12.475,3.425,16.22,4.005), (15.79,3.575,16.22,4.005), (6.7,15.535,16.22,16.115), (15.79,15.685,16.22,16.115)])
R(c_route_cde67343, via, [(15.93,3.715,16.08,3.865), (15.93,15.825,16.08,15.975)])
R(c_route_cde67343, met2, [(15.715,3.575,16.295,16.115), (15.79,3.575,16.22,4.005), (16.22,3.575,16.295,4.005), (15.84,3.625,16.17,3.955), (15.79,15.685,16.22,16.115), (16.22,15.685,16.295,16.115), (15.84,15.735,16.17,16.065)])

l_route_b490b24b = lib.new_cell('L_route_b490b24b')
R(l_route_b490b24b, met1, [(-5.08,-8.245,-2.79,-7.665), (-3.295,-8.17,-2.865,-7.74), (-3.295,-8.17,-2.865,-7.74)])
R(l_route_b490b24b, via, [(-3.155,-8.03,-3.005,-7.88)])
R(l_route_b490b24b, met2, [(-3.37,-8.245,-2.79,-7.665), (-3.37,-8.245,-2.79,-5.415), (-3.245,-8.12,-2.915,-7.79)])

c_route_c508dab7 = lib.new_cell('c_route_c508dab7')
R(c_route_c508dab7, met1, [(-3.08,-5.705,16.22,-5.125), (15.79,-5.555,16.22,-5.125), (12.475,3.425,16.22,4.005), (15.79,3.575,16.22,4.005)])
R(c_route_c508dab7, via, [(15.93,-5.415,16.08,-5.265), (15.93,3.715,16.08,3.865)])
R(c_route_c508dab7, met2, [(15.715,-5.555,16.295,4.005), (15.79,-5.555,16.22,-5.125), (16.22,-5.555,16.295,-5.125), (15.84,-5.505,16.17,-5.175), (15.79,3.575,16.22,4.005), (16.22,3.575,16.295,4.005), (15.84,3.625,16.17,3.955)])

via_stack_5c4b7883 = lib.new_cell('via_stack_5c4b7883')
R(via_stack_5c4b7883, met1, [(-0.215,-0.215,0.215,0.215)])
R(via_stack_5c4b7883, via, [(-0.075,-0.075,0.075,0.075)])
R(via_stack_5c4b7883, met2, [(-0.215,-0.215,0.215,0.215), (-0.165,-0.165,0.165,0.165)])

via_stack_c894a9a7 = lib.new_cell('via_stack_c894a9a7')
R(via_stack_c894a9a7, met1, [(-0.75,-0.75,0.75,0.75), (-0.215,-0.215,0.215,0.215)])
R(via_stack_c894a9a7, via, [(-0.075,-0.075,0.075,0.075)])
R(via_stack_c894a9a7, met2, [(-0.29,-0.29,0.29,0.29)])
R(via_stack_c894a9a7, via2, [(-0.1,-0.1,0.1,0.1)])
R(via_stack_c894a9a7, met3, [(-0.75,-0.75,0.75,0.75)])
R(via_stack_c894a9a7, via3, [(-0.1,-0.1,0.1,0.1)])
R(via_stack_c894a9a7, met4, [(-0.17,-0.17,0.17,0.17)])

c_route_021ab53a = lib.new_cell('c_route_021ab53a')
R(c_route_021ab53a, met1, [(-6.445,-17.81,17.525,-17.23), (17.095,-17.81,17.525,-17.38), (6.7,16.255,17.525,16.835), (17.095,16.405,17.525,16.835)])
R(c_route_021ab53a, via, [(17.235,-17.67,17.385,-17.52), (17.235,16.545,17.385,16.695)])
R(c_route_021ab53a, met2, [(17.02,-17.81,17.6,16.835), (17.095,-17.81,17.525,-17.38), (17.525,-17.81,17.6,-17.38), (17.145,-17.76,17.475,-17.43), (17.095,16.405,17.525,16.835), (17.525,16.405,17.6,16.835), (17.145,16.455,17.475,16.785)])

c_route_d0a98bb4 = lib.new_cell('c_route_d0a98bb4')
R(c_route_d0a98bb4, met1, [(-18.77,-17.81,-18.34,-17.38), (-18.77,-17.81,-7.945,-17.23), (-18.77,-7.525,-6.7,-6.945), (-18.77,-7.375,-18.34,-6.945)])
R(c_route_d0a98bb4, via, [(-18.63,-17.67,-18.48,-17.52), (-18.63,-7.235,-18.48,-7.085)])
R(c_route_d0a98bb4, met2, [(-18.845,-17.81,-18.265,-6.945), (-18.77,-17.81,-18.34,-17.38), (-18.34,-17.81,-18.265,-17.38), (-18.72,-17.76,-18.39,-17.43), (-18.77,-7.375,-18.34,-6.945), (-18.34,-7.375,-18.265,-6.945), (-18.72,-7.325,-18.39,-6.995)])

shared_gate_components = lib.new_cell('shared_gate_components')
shared_gate_components.add(gdstk.Reference(multiplier_8b764ce7, (-9.67,-0.22)))
shared_gate_components.add(gdstk.Reference(multiplier_1a55a8d5, (-3.63,-0.22)))
shared_gate_components.add(gdstk.Reference(multiplier_1a55a8d5, (3.63,-0.22)))
shared_gate_components.add(gdstk.Reference(multiplier_55c53ef0, (9.67,-0.22)))
shared_gate_components.add(gdstk.Reference(c_2_multiplier_shared_gate, (0,11.89)))
shared_gate_components.add(gdstk.Reference(c_2_multiplier_shared_gate, (0,-11.89)))
shared_gate_components.add(gdstk.Reference(straight_route_ddc55553, (0,0)))
shared_gate_components.add(gdstk.Reference(straight_route_048df228, (0,0)))
shared_gate_components.add(gdstk.Reference(route_quad_a14854c7, (0,0)))
shared_gate_components.add(gdstk.Reference(route_quad_dc2cdee2, (0,0)))
shared_gate_components.add(gdstk.Reference(route_quad_61afab6d, (0,0)))
shared_gate_components.add(gdstk.Reference(route_quad_b314cd15, (0,0)))
shared_gate_components.add(gdstk.Reference(via_stack_daa6e7a5, (0,4.65)))
shared_gate_components.add(gdstk.Reference(route_quad_7d1a26c3, (0,0)))
shared_gate_components.add(gdstk.Reference(c_route_bcaef4f7, (0,0)))
shared_gate_components.add(gdstk.Reference(c_route_6727e1a7, (0,0)))
shared_gate_components.add(gdstk.Reference(straight_route_9a33160e, (0,0)))
shared_gate_components.add(gdstk.Reference(straight_route_0b25ad67, (0,0)))
shared_gate_components.add(gdstk.Reference(l_route_be2a4516, (0,0)))
shared_gate_components.add(gdstk.Reference(straight_route_a93f1154, (0,0)))
shared_gate_components.add(gdstk.Reference(c_route_32da0d46, (0,0)))
shared_gate_components.add(gdstk.Reference(unnamed_21e66a7a, (5.08,-6.685)))
shared_gate_components.add(gdstk.Reference(straight_route_65b26ea7, (0,0)))
shared_gate_components.add(gdstk.Reference(l_route_bfd8f1db, (0,0)))
shared_gate_components.add(gdstk.Reference(c_route_cde67343, (0,0)))
shared_gate_components.add(gdstk.Reference(l_route_b490b24b, (0,0)))
shared_gate_components.add(gdstk.Reference(c_route_c508dab7, (0,0)))
shared_gate_components.add(gdstk.Reference(via_stack_5c4b7883, (-3.005,-5.2)))
shared_gate_components.add(gdstk.Reference(via_stack_c894a9a7, (-7.195,-17.52)))
shared_gate_components.add(gdstk.Reference(c_route_021ab53a, (0,0)))
shared_gate_components.add(gdstk.Reference(c_route_d0a98bb4, (0,0)))

lib.write_gds('shared_gate_components.gds')
